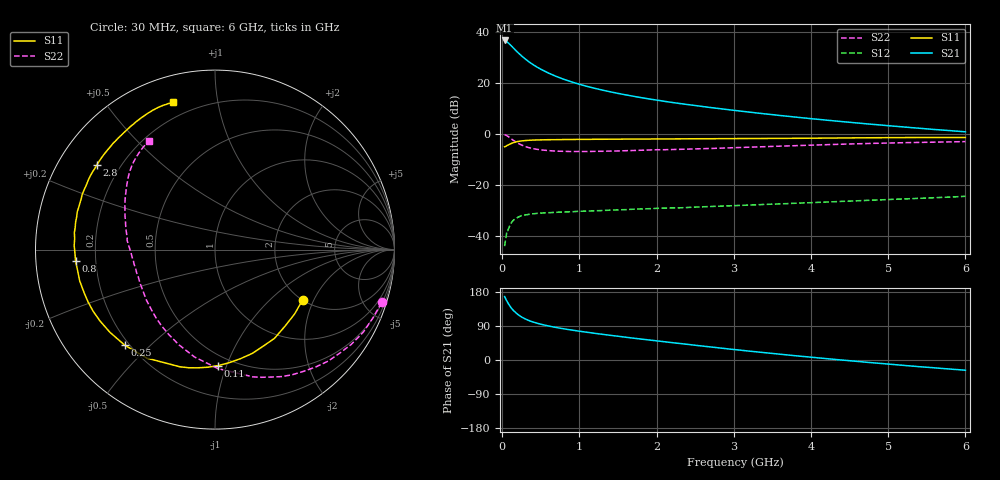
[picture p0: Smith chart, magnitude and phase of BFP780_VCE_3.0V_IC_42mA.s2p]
! Infineon Technologies  Discrete & RF Semiconductors
! BFP780
! VCE =  3.0 V,  IC =  42 mA
! Common Emitter S-Parameters:  Jul 2015
# GHz  S  MA  R  50
!  f  S11  S21  S12  S22
! GHz  MAG  ANG  MAG  ANG  MAG  ANG  MAG  ANG
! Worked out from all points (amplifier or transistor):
!   75 points, 30 MHz to 6 GHz, reference 50 ohm
!   highest |S21| = 36.6 dB at 30 MHz (marker M1)
!   |S21| within 3 dB of that: start of sweep to 145.5 MHz
!   unconditionally stable (mu >= 1): 2.078 GHz to end of sweep
!   at 150 MHz: K = 0.11, MSG = 33.5 dB, |S12| = -33.6 dB
!   at 2.3 GHz: K = 1.08, MAG = 18.7 dB, |S12| = -28.9 dB
!   at 6 GHz: K = 1.31, MAG = 9.3 dB, |S12| = -24.4 dB
!   S11 on the Smith chart (normalised r, x): 30 MHz: 2.02, -1.65; 110 MHz: 0.42, -0.94; 250 MHz: 0.18, -0.42; 800 MHz: 0.12, -0.04; 2.8 GHz: 0.12, +0.32; 6 GHz: 0.12, +0.75
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0.03  0.563 -29.6  67.53 167.4  0.0064 74.6  0.9745 -17.6
0.05  0.578 -47.5  65.07 159.0  0.0098 70.4  0.9456 -29.1
0.07  0.601 -63.3  61.81 151.7  0.0128 62.2  0.9037 -39.6
0.09  0.624 -76.8  58.06 145.0  0.0151 58.2  0.8615 -49.4
0.11  0.6465 -88.4  54.21 139.1  0.0174 52.8  0.8191 -58.4
0.13  0.6656 -98.3  50.58 134.0  0.0194 48.8  0.7761 -66.2
0.15  0.6814 -106.5  47.06 129.5  0.021 45.6  0.74 -73.4
0.2  0.7143 -122.2  39.51 120.3  0.0234 37.2  0.6627 -88.7
0.25  0.7324 -133.4  33.68 113.4  0.0254 32.6  0.6089 -100.8
0.3  0.745 -141.8  29.08 108.1  0.0261 28.7  0.5675 -110.7
0.35  0.7543 -148.3  25.5 103.7  0.0269 25.9  0.538 -118.8
0.45  0.7647 -157.5  20.36 97.1  0.028 22.4  0.5017 -131.1
0.6  0.7738 -166.9  15.52 89.7  0.0289 20.0  0.4736 -144.2
0.8  0.7797 -175.4  11.72 82.2  0.0299 18.2  0.458 -155.7
1.1  0.7843 175.6  8.519 73.1  0.031 17.5  0.4544 -167.1
1.5  0.7918 166.8  6.219 62.7  0.0328 18.1  0.4662 -176.8
2.1  0.8014 155.7  4.359 48.2  0.0355 18.4  0.4929 172.8
2.8  0.8103 144.2  3.157 32.2  0.0386 18.7  0.5268 161.5
3.1  0.8145 139.6  2.788 25.6  0.0402 18.8  0.5459 156.9
4.1  0.8298 125.5  1.931 5.5  0.046 18.1  0.6113 143.4
5.1  0.8503 114.2  1.413 -12.5  0.053 15.5  0.6707 131.8
6  0.8544 106.0  1.104 -27.1  0.0604 11.5  0.7097 121.4
